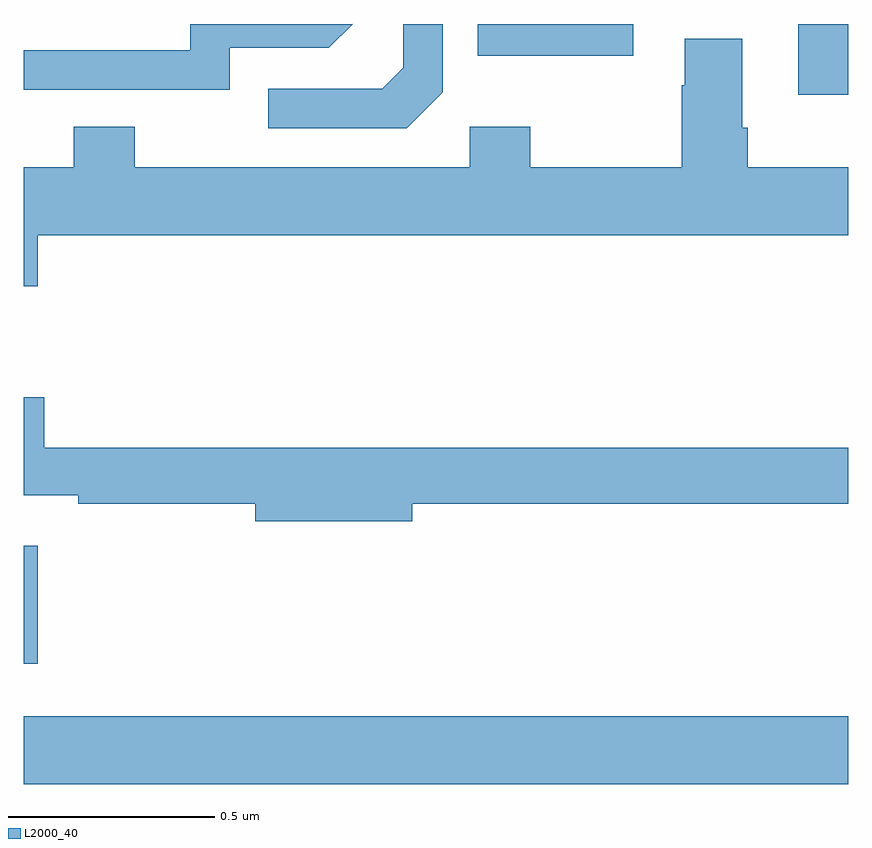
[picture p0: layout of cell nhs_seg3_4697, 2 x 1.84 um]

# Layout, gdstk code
import gdstk
lib = gdstk.Library(unit=1e-6, precision=1e-09)
def R(c, l, rs):  # rectangles x0, y0, x1, y1
    for r in rs: c.add(gdstk.rectangle(r[:2], r[2:], *l))
def P(c, l, *ps):  # polygons
    for p in ps: c.add(gdstk.Polygon(p, *l))
L2000_40 = (2000, 40)

nhs_seg3_4697 = lib.new_cell('nhs_seg3_4697')
R(nhs_seg3_4697, L2000_40, [(169,727.556,171,727.72), (169,727.848,169.034,728.134), (170.879,729.228,171,729.4), (170.101,729.323,170.479,729.4)])
P(nhs_seg3_4697, L2000_40, [(170.016,729.234),(170.016,729.4),(169.92,729.4),(169.92,729.294),(169.869,729.243),(169.593,729.243),(169.593,729.147),(169.929,729.147)],
  [(169.5,729.342),(169.74,729.342),(169.798,729.4),(169.404,729.4),(169.404,729.336),(169,729.336),(169,729.24),(169.5,729.24)],
  [(169.034,728.888),(171,728.888),(171,729.052),(170.756,729.052),(170.756,729.148),(170.743,729.148),(170.743,729.364),(170.603,729.364),(170.603,729.251),(170.596,729.251),(170.596,729.052),(170.229,729.052),(170.229,729.151),(170.082,729.151),(170.082,729.052),(169.269,729.052),(169.269,729.151),(169.121,729.151),(169.121,729.052),(169,729.052),(169,728.764),(169.034,728.764)],
  [(169.942,728.236),(171,728.236),(171,728.372),(169.049,728.372),(169.049,728.494),(169,728.494),(169,728.256),(169.132,728.256),(169.132,728.236),(169.562,728.236),(169.562,728.194),(169.942,728.194)])

lib.write_gds('nhs_seg3_4697.gds')
